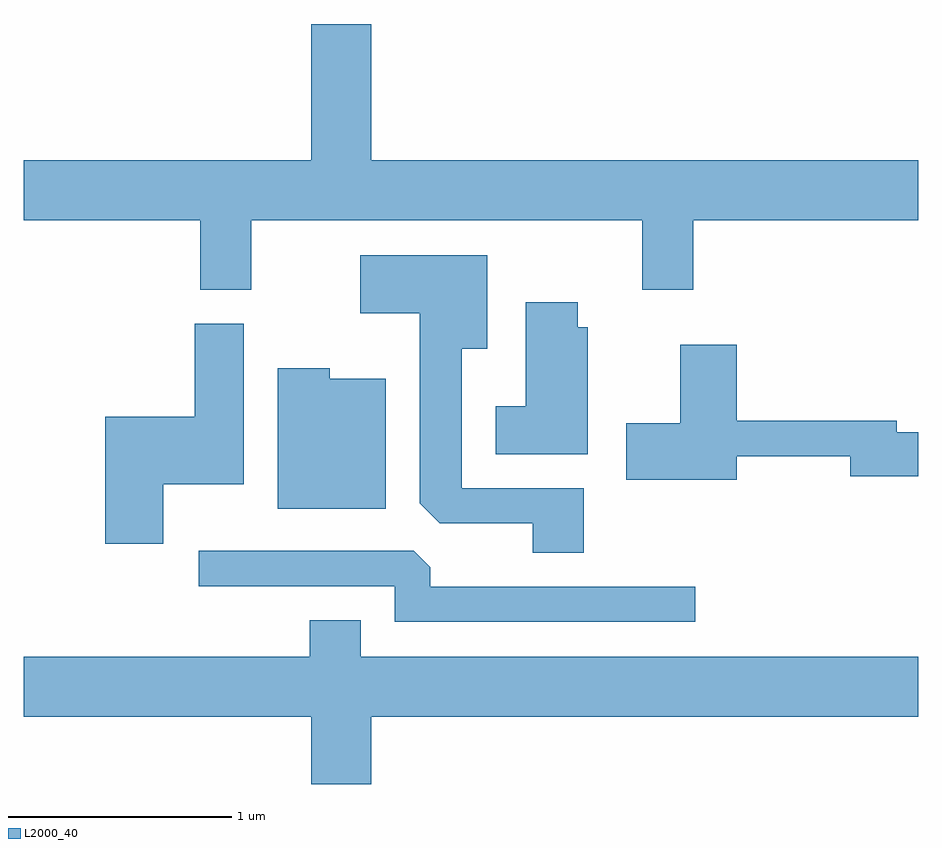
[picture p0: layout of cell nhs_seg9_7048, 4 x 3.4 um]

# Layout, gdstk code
import gdstk
lib = gdstk.Library(unit=1e-6, precision=1e-09)
def P(c, l, *ps):  # polygons
    for p in ps: c.add(gdstk.Polygon(p, *l))
L2000_40 = (2000, 40)

nhs_seg9_7048 = lib.new_cell('nhs_seg9_7048')
P(nhs_seg9_7048, L2000_40, [(394.629,2007.356),(396.376,2007.356),(396.376,2007.046),(396.604,2007.046),(396.604,2007.356),(397.611,2007.356),(397.611,2007.624),(395.164,2007.624),(395.164,2008.234),(394.896,2008.234),(394.896,2007.624),(393.611,2007.624),(393.611,2007.356),(394.401,2007.356),(394.401,2007.046),(394.629,2007.046)],
  [(396.114,2006.159),(395.569,2006.159),(395.569,2006.781),(395.684,2006.781),(395.684,2007.199),(395.116,2007.199),(395.116,2006.941),(395.381,2006.941),(395.381,2006.092),(395.472,2006.001),(395.886,2006.001),(395.886,2005.871),(396.114,2005.871)],
  [(396.134,2006.879),(396.089,2006.879),(396.089,2006.989),(395.856,2006.989),(395.856,2006.524),(395.721,2006.524),(395.721,2006.311),(396.134,2006.311)],
  [(394.234,2006.176),(394.594,2006.176),(394.594,2006.894),(394.376,2006.894),(394.376,2006.479),(393.976,2006.479),(393.976,2005.911),(394.234,2005.911)],
  [(396.799,2006.301),(397.306,2006.301),(397.306,2006.211),(397.611,2006.211),(397.611,2006.409),(397.514,2006.409),(397.514,2006.459),(396.799,2006.459),(396.799,2006.799),(396.546,2006.799),(396.546,2006.449),(396.306,2006.449),(396.306,2006.196),(396.799,2006.196)],
  [(395.229,2006.649),(394.979,2006.649),(394.979,2006.694),(394.746,2006.694),(394.746,2006.066),(395.229,2006.066)],
  [(396.613,2005.719),(395.429,2005.719),(395.429,2005.804),(395.354,2005.879),(394.393,2005.879),(394.393,2005.721),(395.271,2005.721),(395.271,2005.561),(396.613,2005.561)],
  [(395.164,2005.136),(397.611,2005.136),(397.611,2005.404),(395.119,2005.404),(395.119,2005.569),(394.891,2005.569),(394.891,2005.404),(393.611,2005.404),(393.611,2005.136),(394.896,2005.136),(394.896,2004.836),(395.164,2004.836)])

lib.write_gds('nhs_seg9_7048.gds')
